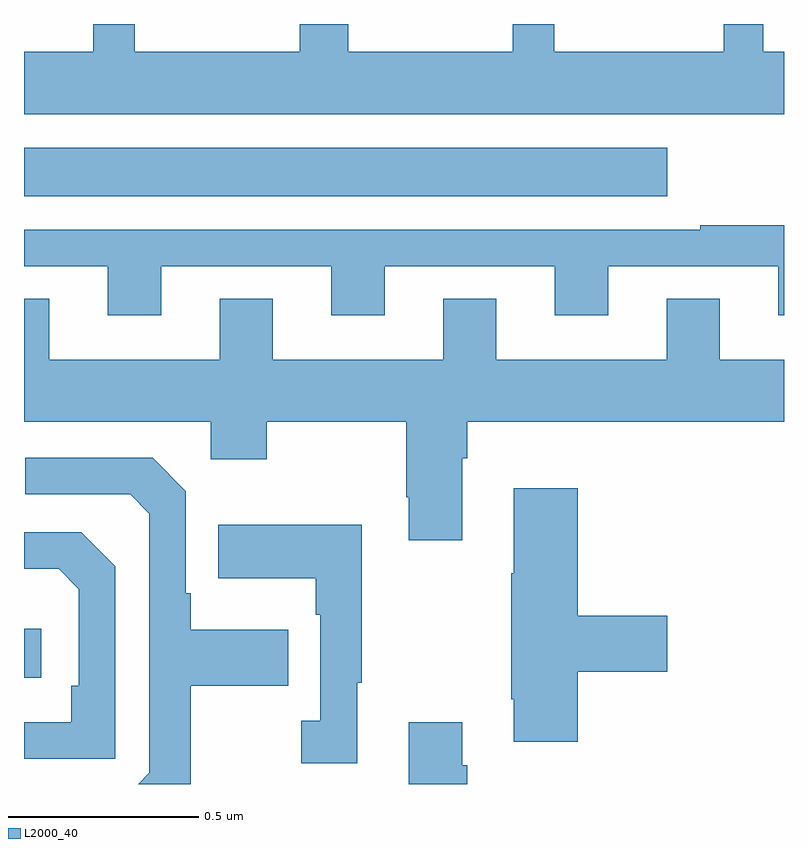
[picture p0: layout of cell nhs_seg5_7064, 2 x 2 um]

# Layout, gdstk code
import gdstk
lib = gdstk.Library(unit=1e-6, precision=1e-09)
def R(c, l, rs):  # rectangles x0, y0, x1, y1
    for r in rs: c.add(gdstk.rectangle(r[:2], r[2:], *l))
def P(c, l, *ps):  # polygons
    for p in ps: c.add(gdstk.Polygon(p, *l))
L2000_40 = (2000, 40)

nhs_seg5_7064 = lib.new_cell('nhs_seg5_7064')
R(nhs_seg5_7064, L2000_40, [(204,864.078,204.046,864.208), (204,865.346,205.693,865.474)])
P(nhs_seg5_7064, L2000_40, [(206,865.726),(205.945,865.726),(205.945,865.799),(205.841,865.799),(205.841,865.726),(205.396,865.726),(205.396,865.799),(205.286,865.799),(205.286,865.726),(204.853,865.726),(204.853,865.799),(204.725,865.799),(204.725,865.726),(204.292,865.726),(204.292,865.799),(204.182,865.799),(204.182,865.726),(204,865.726),(204,865.562),(206,865.562)],
  [(204.361,865.161),(204.809,865.161),(204.809,865.032),(204.949,865.032),(204.949,865.161),(205.397,865.161),(205.397,865.032),(205.537,865.032),(205.537,865.161),(205.985,865.161),(205.985,865.032),(206,865.032),(206,865.27),(205.78,865.27),(205.78,865.257),(204,865.257),(204,865.161),(204.221,865.161),(204.221,865.032),(204.361,865.032)],
  [(206,864.916),(205.831,864.916),(205.831,865.076),(205.691,865.076),(205.691,864.916),(205.243,864.916),(205.243,865.076),(205.103,865.076),(205.103,864.916),(204.655,864.916),(204.655,865.076),(204.515,865.076),(204.515,864.916),(204.067,864.916),(204.067,865.076),(204,865.076),(204,864.752),(204.492,864.752),(204.492,864.653),(204.639,864.653),(204.639,864.752),(205.006,864.752),(205.006,864.553),(205.013,864.553),(205.013,864.441),(205.153,864.441),(205.153,864.656),(205.166,864.656),(205.166,864.752),(206,864.752)],
  [(204.439,864.058),(204.695,864.058),(204.695,864.205),(204.439,864.205),(204.439,864.301),(204.426,864.301),(204.426,864.57),(204.339,864.657),(204.003,864.657),(204.003,864.561),(204.279,864.561),(204.33,864.51),(204.33,863.829),(204.3,863.799),(204.439,863.799)],
  [(205.457,864.095),(205.693,864.095),(205.693,864.242),(205.457,864.242),(205.457,864.577),(205.289,864.577),(205.289,864.353),(205.282,864.353),(205.282,864.022),(205.289,864.022),(205.289,863.91),(205.457,863.91)],
  [(204.877,864.065),(204.889,864.065),(204.889,864.481),(204.511,864.481),(204.511,864.341),(204.768,864.341),(204.768,864.245),(204.78,864.245),(204.78,863.966),(204.729,863.966),(204.729,863.853),(204.877,863.853)],
  [(204.24,864.372),(204.15,864.462),(204,864.462),(204,864.365),(204.091,864.365),(204.144,864.312),(204.144,864.058),(204.124,864.058),(204.124,863.961),(204,863.961),(204,863.865),(204.24,863.865)],
  [(205.166,863.849),(205.153,863.849),(205.153,863.962),(205.013,863.962),(205.013,863.799),(205.166,863.799)])

lib.write_gds('nhs_seg5_7064.gds')
